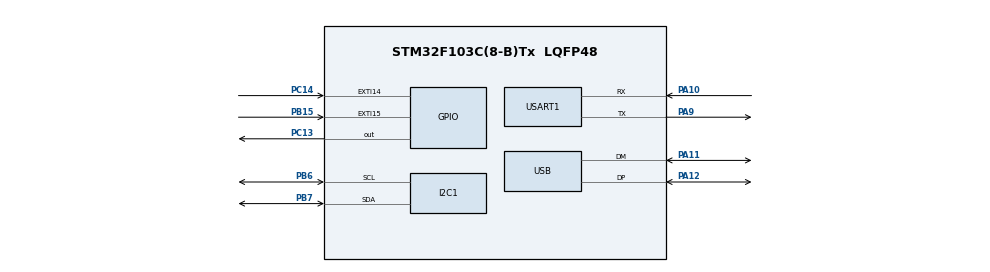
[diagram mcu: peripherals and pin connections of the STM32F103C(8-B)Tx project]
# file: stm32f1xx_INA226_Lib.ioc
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Mcu.Family=STM32F1
Mcu.Name=STM32F103C(8-B)Tx
Mcu.Package=LQFP48
NVIC.EXTI15_10_IRQn=true\:2\:0\:true\:false\:true\:true\:true
NVIC.PriorityGroup=NVIC_PRIORITYGROUP_4
NVIC.USB_LP_CAN1_RX0_IRQn=true\:0\:0\:false\:false\:true\:false\:true
PA10.Mode=Asynchronous
PA10.Signal=USART1_RX
PA11.Mode=Device
PA11.Signal=USB_DM
PA12.Mode=Device
PA12.Signal=USB_DP
PA13.Mode=Serial_Wire
PA13.Signal=SYS_JTMS-SWDIO
PA14.Mode=Serial_Wire
PA14.Signal=SYS_JTCK-SWCLK
PA9.Mode=Asynchronous
PA9.Signal=USART1_TX
PB15.Signal=GPXTI15
PB6.Mode=I2C
PB6.Signal=I2C1_SCL
PB7.Mode=I2C
PB7.Signal=I2C1_SDA
PC13-TAMPER-RTC.Signal=GPIO_Output
PC14-OSC32_IN.Signal=GPXTI14
PD0-OSC_IN.Mode=HSE-External-Oscillator
PD0-OSC_IN.Signal=RCC_OSC_IN
PD1-OSC_OUT.Mode=HSE-External-Oscillator
PD1-OSC_OUT.Signal=RCC_OSC_OUT
ProjectManager.HeapSize=0x400
ProjectManager.StackSize=0x400
ProjectManager.TargetToolchain=STM32CubeIDE
RCC.AHBFreq_Value=72000000
RCC.APB1CLKDivider=RCC_HCLK_DIV2
RCC.APB1Freq_Value=36000000
RCC.APB1TimFreq_Value=72000000
RCC.APB2Freq_Value=72000000
RCC.APB2TimFreq_Value=72000000
RCC.HCLKFreq_Value=72000000
RCC.PLLMUL=RCC_PLL_MUL9
RCC.PLLSourceVirtual=RCC_PLLSOURCE_HSE
RCC.SYSCLKFreq_VALUE=72000000
RCC.SYSCLKSource=RCC_SYSCLKSOURCE_PLLCLK
RCC.USBFreq_Value=48000000
RCC.USBPrescaler=RCC_USBCLKSOURCE_PLL_DIV1_5
USART1.VirtualMode=VM_ASYNC
USB_DEVICE.CLASS_NAME_FS=CDC
USB_DEVICE.VirtualMode=Cdc
USB_DEVICE.VirtualModeFS=Cdc_FS
VP_USB_DEVICE_VS_USB_DEVICE_CDC_FS.Mode=CDC_FS
board=custom

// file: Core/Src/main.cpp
/* USER CODE BEGIN Header */
/**
 ******************************************************************************
 * @file           : main.c
 * @brief          : Main program body
 ******************************************************************************
 * @attention
 *
 * <h2><center>&copy; Copyright (c) 2020 STMicroelectronics.
 * All rights reserved.</center></h2>
 *
 * This software component is licensed by ST under BSD 3-Clause license,
 * the "License"; You may not use this file except in compliance with the
 * License. You may obtain a copy of the License at:
 *                        opensource.org/licenses/BSD-3-Clause
 *
 ******************************************************************************
 */
/* USER CODE END Header */
#include "main.h"
#include "usb_device.h"

/* USER CODE BEGIN Includes */
#include "INA226.h"
#include "Serial.h"
#include "usbd_cdc_if.h"
/* USER CODE END Includes */

I2C_HandleTypeDef hi2c1;

UART_HandleTypeDef huart1;

/* USER CODE BEGIN PV */

class Usb: public Print
{
public:

    Usb();
    virtual void write( uint8_t * text );
};

Usb::Usb()
{

}

void Usb::write( uint8_t * text )
{

    CDC_Transmit_FS( text, strlen( (char*) text ) );
}

Usb usb;

// Default INA226 address is 0x40
INA226 ina( &hi2c1 );

Serial serial( &huart1, PRINT_UART );

/* USER CODE END PV */

void SystemClock_Config( void );
static void MX_GPIO_Init( void );
static void MX_I2C1_Init( void );
static void MX_USART1_UART_Init( void );
/* USER CODE BEGIN PFP */

void CDC_ReceiveCallBack( uint8_t * Buf, uint16_t Len );

/* USER CODE END PFP */

int main( void )
{

    /* MCU Configuration--------------------------------------------------------*/

    /* Reset of all peripherals, Initializes the Flash interface and the Systick. */
    HAL_Init();

    /* Configure the system clock */
    SystemClock_Config();

    /* Initialize all configured peripherals */
    MX_GPIO_Init();
    MX_I2C1_Init();
    MX_USART1_UART_Init();
    MX_USB_DEVICE_Init();

    /* Infinite loop */
    /* USER CODE BEGIN WHILE */

    // Configure INA226
    ina.configure( INA226_AVERAGES_64, INA226_BUS_CONV_TIME_2116US,
            INA226_SHUNT_CONV_TIME_2116US, INA226_MODE_SHUNT_BUS_CONT );
    // Calibrate INA226. Rshunt = 0.11 ohm, Max excepted current = 4A
    ina.calibrate( 0.1091, 4 );

    /* USER CODE END 2 */

    /* Infinite loop */
    /* USER CODE BEGIN WHILE */

    while ( 1 )
    {
        usb.print( "Bus voltage: %.3f V \r\n", ina.readBusVoltage() );
        usb.print( "Bus power: %.3f W \r\n", ina.readBusPower() );
        usb.print( "Shunt voltage: %.5f V \r\n", ina.readShuntVoltage() );
        usb.print( "Shunt current: %.5f A \r\n", ina.readShuntCurrent() );
        usb.print( "Load resistance: %.2f Ohm \r\n", ina.readResLoad() );

        serial.print( "Bus voltage: %.3f V \r\n", ina.readBusVoltage() );
        serial.print( "Bus power: %.3f W \r\n", ina.readBusPower() );
        serial.print( "Shunt voltage: %.5f V \r\n", ina.readShuntVoltage() );
        serial.print( "Shunt current: %.5f A \r\n", ina.readShuntCurrent() );
        serial.print( "Load resistance: %.2f Ohm \r\n", ina.readResLoad() );

        HAL_Delay( 600 );

        /* USER CODE END WHILE */

    }
}

void SystemClock_Config( void )
{
    RCC_OscInitTypeDef RCC_OscInitStruct =
    { 0 };
    RCC_ClkInitTypeDef RCC_ClkInitStruct =
    { 0 };
    RCC_PeriphCLKInitTypeDef PeriphClkInit =
    { 0 };

    /** Initializes the RCC Oscillators according to the specified parameters
     * in the RCC_OscInitTypeDef structure.
     */
    RCC_OscInitStruct.OscillatorType = RCC_OSCILLATORTYPE_HSE;
    RCC_OscInitStruct.HSEState = RCC_HSE_ON;
    RCC_OscInitStruct.HSEPredivValue = RCC_HSE_PREDIV_DIV1;
    RCC_OscInitStruct.HSIState = RCC_HSI_ON;
    RCC_OscInitStruct.PLL.PLLState = RCC_PLL_ON;
    RCC_OscInitStruct.PLL.PLLSource = RCC_PLLSOURCE_HSE;
    RCC_OscInitStruct.PLL.PLLMUL = RCC_PLL_MUL9;
    if ( HAL_RCC_OscConfig( &RCC_OscInitStruct ) != HAL_OK )
    {
        Error_Handler();
    }
    /** Initializes the CPU, AHB and APB buses clocks
     */
    RCC_ClkInitStruct.ClockType = RCC_CLOCKTYPE_HCLK | RCC_CLOCKTYPE_SYSCLK
            | RCC_CLOCKTYPE_PCLK1 | RCC_CLOCKTYPE_PCLK2;
    RCC_ClkInitStruct.SYSCLKSource = RCC_SYSCLKSOURCE_PLLCLK;
    RCC_ClkInitStruct.AHBCLKDivider = RCC_SYSCLK_DIV1;
    RCC_ClkInitStruct.APB1CLKDivider = RCC_HCLK_DIV2;
    RCC_ClkInitStruct.APB2CLKDivider = RCC_HCLK_DIV1;

    if ( HAL_RCC_ClockConfig( &RCC_ClkInitStruct, FLASH_LATENCY_2 ) != HAL_OK )
    {
        Error_Handler();
    }
    PeriphClkInit.PeriphClockSelection = RCC_PERIPHCLK_USB;
    PeriphClkInit.UsbClockSelection = RCC_USBCLKSOURCE_PLL_DIV1_5;
    if ( HAL_RCCEx_PeriphCLKConfig( &PeriphClkInit ) != HAL_OK )
    {
        Error_Handler();
    }
}

static void MX_I2C1_Init( void )
{

    hi2c1.Instance = I2C1;
    hi2c1.Init.ClockSpeed = 100000;
    hi2c1.Init.DutyCycle = I2C_DUTYCYCLE_2;
    hi2c1.Init.OwnAddress1 = 0;
    hi2c1.Init.AddressingMode = I2C_ADDRESSINGMODE_7BIT;
    hi2c1.Init.DualAddressMode = I2C_DUALADDRESS_DISABLE;
    hi2c1.Init.OwnAddress2 = 0;
    hi2c1.Init.GeneralCallMode = I2C_GENERALCALL_DISABLE;
    hi2c1.Init.NoStretchMode = I2C_NOSTRETCH_DISABLE;
    if ( HAL_I2C_Init( &hi2c1 ) != HAL_OK )
    {
        Error_Handler();
    }

}

static void MX_USART1_UART_Init( void )
{

    huart1.Instance = USART1;
    huart1.Init.BaudRate = 115200;
    huart1.Init.WordLength = UART_WORDLENGTH_8B;
    huart1.Init.StopBits = UART_STOPBITS_1;
    huart1.Init.Parity = UART_PARITY_NONE;
    huart1.Init.Mode = UART_MODE_TX_RX;
    huart1.Init.HwFlowCtl = UART_HWCONTROL_NONE;
    huart1.Init.OverSampling = UART_OVERSAMPLING_16;
    if ( HAL_UART_Init( &huart1 ) != HAL_OK )
    {
        Error_Handler();
    }

}

static void MX_GPIO_Init( void )
{
    GPIO_InitTypeDef GPIO_InitStruct =
    { 0 };

    /* GPIO Ports Clock Enable */
    __HAL_RCC_GPIOC_CLK_ENABLE( );
    __HAL_RCC_GPIOD_CLK_ENABLE( );
    __HAL_RCC_GPIOB_CLK_ENABLE( );
    __HAL_RCC_GPIOA_CLK_ENABLE( );

    /*Configure GPIO pin Output Level */
    HAL_GPIO_WritePin( GPIOC, GPIO_PIN_13, GPIO_PIN_RESET );

    /*Configure GPIO pin : PC13 */
    GPIO_InitStruct.Pin = GPIO_PIN_13;
    GPIO_InitStruct.Mode = GPIO_MODE_OUTPUT_PP;
    GPIO_InitStruct.Pull = GPIO_NOPULL;
    GPIO_InitStruct.Speed = GPIO_SPEED_FREQ_LOW;
    HAL_GPIO_Init( GPIOC, &GPIO_InitStruct );

    /*Configure GPIO pin : PC14 */
    GPIO_InitStruct.Pin = GPIO_PIN_14;
    GPIO_InitStruct.Mode = GPIO_MODE_IT_RISING;
    GPIO_InitStruct.Pull = GPIO_NOPULL;
    HAL_GPIO_Init( GPIOC, &GPIO_InitStruct );

    /*Configure GPIO pin : PB15 */
    GPIO_InitStruct.Pin = GPIO_PIN_15;
    GPIO_InitStruct.Mode = GPIO_MODE_IT_RISING;
    GPIO_InitStruct.Pull = GPIO_NOPULL;
    HAL_GPIO_Init( GPIOB, &GPIO_InitStruct );

    /* EXTI interrupt init*/
    HAL_NVIC_SetPriority( EXTI15_10_IRQn, 2, 0 );
    HAL_NVIC_EnableIRQ( EXTI15_10_IRQn );

}

/* USER CODE BEGIN 4 */

void CDC_ReceiveCallBack( uint8_t * Buf, uint16_t Len )
{
    HAL_GPIO_TogglePin( GPIOC, GPIO_PIN_13 );
    usb.print( Buf );
}

/* USER CODE END 4 */

void Error_Handler( void )
{
}

/************************ (C) COPYRIGHT STMicroelectronics *****END OF FILE****/
